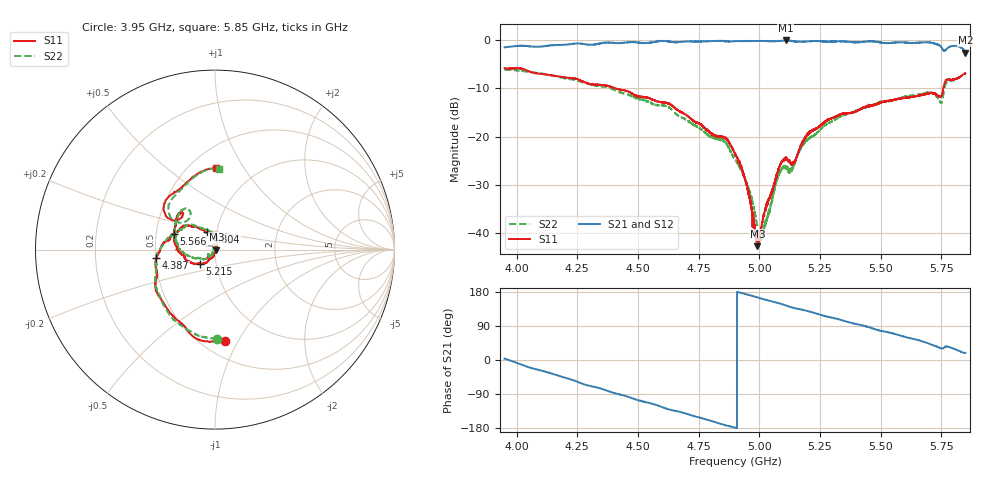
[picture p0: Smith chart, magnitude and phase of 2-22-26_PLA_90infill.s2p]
# GHZ S RI R 50.000000000000
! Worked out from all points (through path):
!   4501 points, 3.95 GHz to 5.85 GHz, reference 50 ohm
!   highest |S21| = -0.05 dB at 5.109 GHz (marker M1); lowest = -2.6 dB at 5.85 GHz (marker M2)
!   group delay of S21, straight-line fit = 499 ps
!   lowest |S11| = -42.7 dB at 4.992 GHz (marker M3), VSWR 1.01, Z = 50.7 + j0.0275 ohm
!   |S11| at or under -10 dB: 4.407217 GHz to 4.407441 GHz (223.3 kHz wide, 0.00507 % of centre); 4.408 GHz to 5.759 GHz (1.351 GHz wide, 26.6 % of centre)
!   |S22| runs from -41.4 to -6.1 dB; largest |S21 - S12| = 0.028
!   S11 on the Smith chart (normalised r, x): 3.95 GHz: 0.64, -0.88; 4.387 GHz: 0.51, -0.05; 4.804 GHz: 0.90, +0.18; 5.215 GHz: 0.84, -0.13; 5.566 GHz: 0.62, +0.11; 5.85 GHz: 0.67, +0.76
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3.95  0.0543 -0.5099  0.8451 0.0537  0.8314 0.0512  0.0116 -0.497
4.039089  -0.1387 -0.4699  0.8358 -0.2498  0.8485 -0.2417  -0.1478 -0.4499
4.267089  -0.3311 -0.183  0.4358 -0.8119  0.4454 -0.817  -0.3319 -0.1633
4.387422  -0.3266 -0.0481  0.0955 -0.9409  0.111 -0.9282  -0.3176 -0.0109
4.583756  -0.2084 0.0996  -0.496 -0.8373  -0.4804 -0.8407  -0.1781 0.1154
4.803733  -0.0443 0.0996  -0.9258 -0.3166  -0.9222 -0.3255  -0.0264 0.0945
4.9  0.00101 0.0666  -0.9765 -0.0256  -0.9768 -0.0328  -0.000193 0.0576
4.944756  0.0107 0.0324  -0.9712 0.108  -0.9757 0.1001  -0.0015 0.0342
4.992044  0.00736 0.000271  -0.9503 0.2492  -0.9497 0.2391  -0.0062 0.00993
5.010622  0.00418 -0.0115  -0.9322 0.3076  -0.9342 0.2948  -0.00925 0.000737
5.076067  -0.0117 -0.0426  -0.8556 0.4804  -0.857 0.4663  -0.0217 -0.0311
5.109422  -0.0394 -0.0477  -0.8066 0.5811  -0.8184 0.5694  -0.0405 -0.0296
5.1432  -0.0295 -0.0449  -0.7148 0.6595  -0.7212 0.6595  -0.0322 -0.0405
5.214978  -0.0832 -0.0792  -0.5816 0.7851  -0.5879 0.772  -0.0885 -0.0478
5.217089  -0.0846 -0.0785  -0.5745 0.7911  -0.5812 0.7774  -0.0886 -0.0474
5.349667  -0.1698 -0.0456  -0.2228 0.9513  -0.2266 0.9489  -0.1658 -0.0225
5.533756  -0.2273 0.0636  0.2757 0.8927  0.2695 0.8993  -0.217 0.0865
5.565844  -0.2284 0.087  0.3627 0.8778  0.3462 0.8794  -0.2217 0.1052
5.717  -0.1935 0.1968  0.7252 0.5883  0.7186 0.5961  -0.1639 0.2305
5.748667  -0.1946 0.1726  0.7405 0.4455  0.73 0.455  -0.146 0.1721
5.768089  -0.284 0.2566  0.6461 0.4584  0.6389 0.4671  -0.2608 0.2325
5.85  0.00622 0.4535  0.7027 0.2355  0.6967 0.2461  0.0207 0.4505
